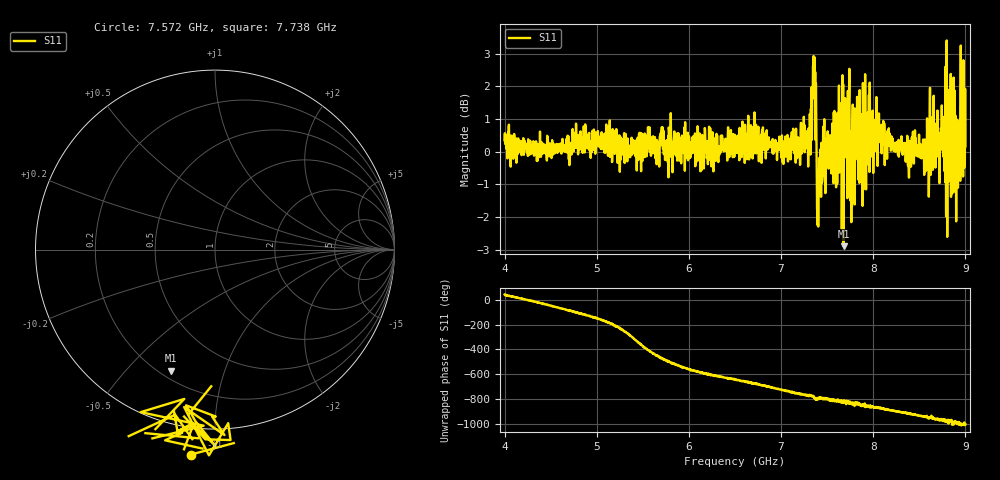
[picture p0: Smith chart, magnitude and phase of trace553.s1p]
! Created with skrf 1.8.0 (http://scikit-rf.org).
# Hz S RI R 50.0
!freq ReS11 ImS11
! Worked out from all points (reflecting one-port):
!   1601 points, 4 GHz to 9 GHz, reference 50 ohm
!   lowest |S11| = -2.9 dB at 7.678 GHz (marker M1), VSWR 6.07, Z = 12.1 - j33.7 ohm
!   phase of S11 starts at 45 deg and turns -1051 deg over the sweep
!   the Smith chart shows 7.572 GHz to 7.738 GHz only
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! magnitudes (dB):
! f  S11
! 4 GHz  0.4
! 4.625 GHz  0.1
! 4.897 GHz  0.1
! 5.25 GHz  -0.6
! 5.706 GHz  0.8
! 5.753 GHz  -0.2
! 5.875 GHz  -0.3
! 6.5 GHz  0.5
! 7.125 GHz  0.3
! 7.294 GHz  -0.5
! 7.356 GHz  2.3
! 7.409 GHz  -1.1
! 7.481 GHz  -1.3
! 7.609 GHz  -1.0
! 7.65 GHz  0.5
! 7.678 GHz  -2.9
! 7.75 GHz  -1.5
! 7.775 GHz  0.9
! 7.828 GHz  0.7
! 8.05 GHz  0.8
! 8.375 GHz  -0.3
! 8.584 GHz  1.0
! 8.638 GHz  0.9
! 8.7 GHz  0.5
! 8.775 GHz  0.7
! 8.919 GHz  -1.1
! 8.956 GHz  0.1
! 9 GHz  0.2
